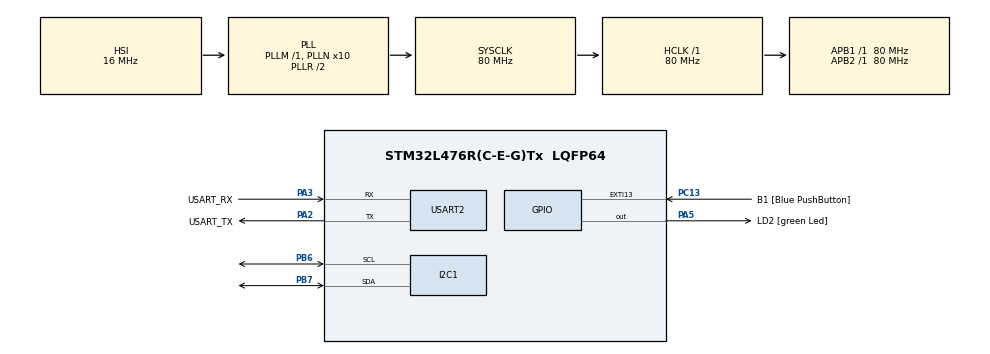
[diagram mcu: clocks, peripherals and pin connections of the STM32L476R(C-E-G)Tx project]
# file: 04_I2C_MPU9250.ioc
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I2C1.Timing=0x10D19CE4
Mcu.Family=STM32L4
Mcu.Name=STM32L476R(C-E-G)Tx
Mcu.Package=LQFP64
NVIC.PriorityGroup=NVIC_PRIORITYGROUP_4
NVIC.USART2_IRQn=true\:0\:0\:false\:false\:true\:true\:true\:true
PA13\ (JTMS-SWDIO).GPIO_Label=TMS
PA13\ (JTMS-SWDIO).Mode=Serial_Wire
PA13\ (JTMS-SWDIO).Signal=SYS_JTMS-SWDIO
PA14\ (JTCK-SWCLK).GPIO_Label=TCK
PA14\ (JTCK-SWCLK).Mode=Serial_Wire
PA14\ (JTCK-SWCLK).Signal=SYS_JTCK-SWCLK
PA2.GPIO_Label=USART_TX
PA2.GPIO_Mode=GPIO_MODE_AF_PP
PA2.GPIO_PuPd=GPIO_NOPULL
PA2.GPIO_Speed=GPIO_SPEED_FREQ_VERY_HIGH
PA2.Mode=Asynchronous
PA2.Signal=USART2_TX
PA3.GPIO_Label=USART_RX
PA3.GPIO_Mode=GPIO_MODE_AF_PP
PA3.GPIO_PuPd=GPIO_NOPULL
PA3.GPIO_Speed=GPIO_SPEED_FREQ_VERY_HIGH
PA3.Mode=Asynchronous
PA3.Signal=USART2_RX
PA5.GPIO_Label=LD2 [green Led]
PA5.GPIO_ModeDefaultOutputPP=GPIO_MODE_OUTPUT_PP
PA5.GPIO_PuPd=GPIO_NOPULL
PA5.GPIO_Speed=GPIO_SPEED_FREQ_LOW
PA5.Signal=GPIO_Output
PB3\ (JTDO-TRACESWO).GPIO_Label=SWO
PB3\ (JTDO-TRACESWO).Signal=SYS_JTDO-SWO
PB6.Mode=I2C
PB6.Signal=I2C1_SCL
PB7.Mode=I2C
PB7.Signal=I2C1_SDA
PC13.GPIO_Label=B1 [Blue PushButton]
PC13.GPIO_ModeDefaultEXTI=GPIO_MODE_IT_FALLING
PC13.GPIO_PuPd=GPIO_NOPULL
PC13.Signal=GPXTI13
PC14-OSC32_IN\ (PC14).Mode=LSE-External-Oscillator
PC14-OSC32_IN\ (PC14).Signal=RCC_OSC32_IN
PC15-OSC32_OUT\ (PC15).Mode=LSE-External-Oscillator
PC15-OSC32_OUT\ (PC15).Signal=RCC_OSC32_OUT
PH0-OSC_IN\ (PH0).Signal=RCC_OSC_IN
PH1-OSC_OUT\ (PH1).Signal=RCC_OSC_OUT
ProjectManager.HeapSize=0x200
ProjectManager.StackSize=0x400
ProjectManager.TargetToolchain=STM32CubeIDE
RCC.ADCFreq_Value=64000000
RCC.AHBFreq_Value=80000000
RCC.APB1Freq_Value=80000000
RCC.APB1TimFreq_Value=80000000
RCC.APB2Freq_Value=80000000
RCC.APB2TimFreq_Value=80000000
RCC.CortexFreq_Value=80000000
RCC.HCLKFreq_Value=80000000
RCC.HSE_VALUE=8000000
RCC.HSI_VALUE=16000000
RCC.MSI_VALUE=4000000
RCC.PLLN=10
RCC.PLLSourceVirtual=RCC_PLLSOURCE_HSI
RCC.PREFETCH_ENABLE=1
RCC.SYSCLKFreq_VALUE=80000000
RCC.SYSCLKSource=RCC_SYSCLKSOURCE_PLLCLK
RCC.USBFreq_Value=64000000
RCC.VCOOutputFreq_Value=160000000
USART2.VirtualMode-Asynchronous=VM_ASYNC
board=NUCLEO-L476RG

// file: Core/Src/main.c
/* USER CODE BEGIN Header */
/**
  ******************************************************************************
  * @file           : main.c
  * @brief          : Main program body
  ******************************************************************************
  * @attention
  *
  * Copyright (c) 2026 STMicroelectronics.
  * All rights reserved.
  *
  * This software is licensed under terms that can be found in the LICENSE file
  * in the root directory of this software component.
  * If no LICENSE file comes with this software, it is provided AS-IS.
  *
  ******************************************************************************
  */
/* USER CODE END Header */
#include "main.h"

/* USER CODE BEGIN Includes */
#include <stdio.h>
#include <stdlib.h>
/* USER CODE END Includes */

I2C_HandleTypeDef hi2c1;

UART_HandleTypeDef huart2;

void SystemClock_Config(void);
static void MX_GPIO_Init(void);
static void MX_I2C1_Init(void);
static void MX_USART2_UART_Init(void);

int main(void)
{

  /* MCU Configuration--------------------------------------------------------*/

  /* Reset of all peripherals, Initializes the Flash interface and the Systick. */
  HAL_Init();

  /* Configure the system clock */
  SystemClock_Config();

  /* Initialize all configured peripherals */
  MX_GPIO_Init();
  MX_I2C1_Init();
  MX_USART2_UART_Init();
  /* USER CODE BEGIN 2 */
  // I2C Device Address
  uint16_t mpu_addr = (0x68 << 1);

  // Buffer for raw data from sensor (6 bytes: X_H, X_L, Y_H, Y_L, Z_H, Z_L)
  uint8_t raw_data[6];

  // Wake up the MPU-6500 sensor (0x00 to PWR_MGMT_1 register which is 0x6B)
  uint8_t wakeup_cmd = 0x00;
  HAL_I2C_Mem_Write(&hi2c1, mpu_addr, 0x6B, 1, &wakeup_cmd, 1, 100);

  // Buffer for 8-byte telemetry frame
  uint8_t tx_frame[8];
  tx_frame[0] = 0xAA;	// Start byte
  tx_frame[7] = 0xBB;	// Stop byte

  /* USER CODE END 2 */

  /* Infinite loop */
  /* USER CODE BEGIN WHILE */
  while (1)
  {
	  // 1. Burst read 6 consecutive bytes starting from ACCEL_XOUT_H (0x3B)
	  HAL_I2C_Mem_Read(&hi2c1, mpu_addr, 0x3B, 1, raw_data, 6, 100);

	  // 2. Frame
	  tx_frame[1] = raw_data[0];	// X High
	  tx_frame[2] = raw_data[1];	// X Low
	  tx_frame[3] = raw_data[2];	// Y High
	  tx_frame[4] = raw_data[3];	// Y Low
	  tx_frame[5] = raw_data[4];	// Z High
	  tx_frame[6] = raw_data[5];	// Z Low

	  // 3. Transmit
	  HAL_UART_Transmit(&huart2, tx_frame, 8, 100);

	  // 4. Time-Triggered delay for 50 Hz telemetry stream
	  HAL_Delay(20);
    /* USER CODE END WHILE */

  }
}

void SystemClock_Config(void)
{
  RCC_OscInitTypeDef RCC_OscInitStruct = {0};
  RCC_ClkInitTypeDef RCC_ClkInitStruct = {0};

  /** Configure the main internal regulator output voltage
  */
  if (HAL_PWREx_ControlVoltageScaling(PWR_REGULATOR_VOLTAGE_SCALE1) != HAL_OK)
  {
    Error_Handler();
  }

  /** Initializes the RCC Oscillators according to the specified parameters
  * in the RCC_OscInitTypeDef structure.
  */
  RCC_OscInitStruct.OscillatorType = RCC_OSCILLATORTYPE_HSI;
  RCC_OscInitStruct.HSIState = RCC_HSI_ON;
  RCC_OscInitStruct.HSICalibrationValue = RCC_HSICALIBRATION_DEFAULT;
  RCC_OscInitStruct.PLL.PLLState = RCC_PLL_ON;
  RCC_OscInitStruct.PLL.PLLSource = RCC_PLLSOURCE_HSI;
  RCC_OscInitStruct.PLL.PLLM = 1;
  RCC_OscInitStruct.PLL.PLLN = 10;
  RCC_OscInitStruct.PLL.PLLP = RCC_PLLP_DIV7;
  RCC_OscInitStruct.PLL.PLLQ = RCC_PLLQ_DIV2;
  RCC_OscInitStruct.PLL.PLLR = RCC_PLLR_DIV2;
  if (HAL_RCC_OscConfig(&RCC_OscInitStruct) != HAL_OK)
  {
    Error_Handler();
  }

  /** Initializes the CPU, AHB and APB buses clocks
  */
  RCC_ClkInitStruct.ClockType = RCC_CLOCKTYPE_HCLK|RCC_CLOCKTYPE_SYSCLK
                              |RCC_CLOCKTYPE_PCLK1|RCC_CLOCKTYPE_PCLK2;
  RCC_ClkInitStruct.SYSCLKSource = RCC_SYSCLKSOURCE_PLLCLK;
  RCC_ClkInitStruct.AHBCLKDivider = RCC_SYSCLK_DIV1;
  RCC_ClkInitStruct.APB1CLKDivider = RCC_HCLK_DIV1;
  RCC_ClkInitStruct.APB2CLKDivider = RCC_HCLK_DIV1;

  if (HAL_RCC_ClockConfig(&RCC_ClkInitStruct, FLASH_LATENCY_4) != HAL_OK)
  {
    Error_Handler();
  }
}

static void MX_I2C1_Init(void)
{

  hi2c1.Instance = I2C1;
  hi2c1.Init.Timing = 0x10D19CE4;
  hi2c1.Init.OwnAddress1 = 0;
  hi2c1.Init.AddressingMode = I2C_ADDRESSINGMODE_7BIT;
  hi2c1.Init.DualAddressMode = I2C_DUALADDRESS_DISABLE;
  hi2c1.Init.OwnAddress2 = 0;
  hi2c1.Init.OwnAddress2Masks = I2C_OA2_NOMASK;
  hi2c1.Init.GeneralCallMode = I2C_GENERALCALL_DISABLE;
  hi2c1.Init.NoStretchMode = I2C_NOSTRETCH_DISABLE;
  if (HAL_I2C_Init(&hi2c1) != HAL_OK)
  {
    Error_Handler();
  }

  /** Configure Analogue filter
  */
  if (HAL_I2CEx_ConfigAnalogFilter(&hi2c1, I2C_ANALOGFILTER_ENABLE) != HAL_OK)
  {
    Error_Handler();
  }

  /** Configure Digital filter
  */
  if (HAL_I2CEx_ConfigDigitalFilter(&hi2c1, 0) != HAL_OK)
  {
    Error_Handler();
  }

}

static void MX_USART2_UART_Init(void)
{

  huart2.Instance = USART2;
  huart2.Init.BaudRate = 115200;
  huart2.Init.WordLength = UART_WORDLENGTH_8B;
  huart2.Init.StopBits = UART_STOPBITS_1;
  huart2.Init.Parity = UART_PARITY_NONE;
  huart2.Init.Mode = UART_MODE_TX_RX;
  huart2.Init.HwFlowCtl = UART_HWCONTROL_NONE;
  huart2.Init.OverSampling = UART_OVERSAMPLING_16;
  huart2.Init.OneBitSampling = UART_ONE_BIT_SAMPLE_DISABLE;
  huart2.AdvancedInit.AdvFeatureInit = UART_ADVFEATURE_NO_INIT;
  if (HAL_UART_Init(&huart2) != HAL_OK)
  {
    Error_Handler();
  }

}

static void MX_GPIO_Init(void)
{
  GPIO_InitTypeDef GPIO_InitStruct = {0};

  /* GPIO Ports Clock Enable */
  __HAL_RCC_GPIOC_CLK_ENABLE();
  __HAL_RCC_GPIOH_CLK_ENABLE();
  __HAL_RCC_GPIOA_CLK_ENABLE();
  __HAL_RCC_GPIOB_CLK_ENABLE();

  /*Configure GPIO pin Output Level */
  HAL_GPIO_WritePin(LD2_GPIO_Port, LD2_Pin, GPIO_PIN_RESET);

  /*Configure GPIO pin : B1_Pin */
  GPIO_InitStruct.Pin = B1_Pin;
  GPIO_InitStruct.Mode = GPIO_MODE_IT_FALLING;
  GPIO_InitStruct.Pull = GPIO_NOPULL;
  HAL_GPIO_Init(B1_GPIO_Port, &GPIO_InitStruct);

  /*Configure GPIO pin : LD2_Pin */
  GPIO_InitStruct.Pin = LD2_Pin;
  GPIO_InitStruct.Mode = GPIO_MODE_OUTPUT_PP;
  GPIO_InitStruct.Pull = GPIO_NOPULL;
  GPIO_InitStruct.Speed = GPIO_SPEED_FREQ_LOW;
  HAL_GPIO_Init(LD2_GPIO_Port, &GPIO_InitStruct);

}

void Error_Handler(void)
{
  __disable_irq();
  while (1)
  {
  }
}
